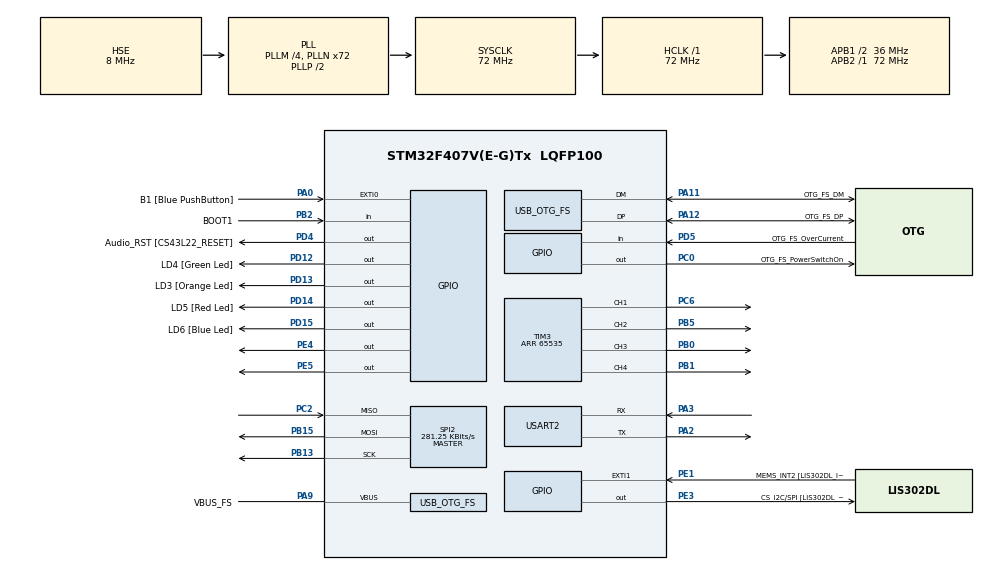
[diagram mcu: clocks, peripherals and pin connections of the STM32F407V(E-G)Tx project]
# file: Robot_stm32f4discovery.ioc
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FREERTOS.Tasks01=defaultTask,0,128,StartDefaultTask,Default;sendMessageTask,0,128,sendMessageTaskFunction,Default;speedTask,-3,128,speedTaskFunction,Default;controlLoop,0,128,controlLoopTaskFunction,Default
Mcu.Family=STM32F4
Mcu.Name=STM32F407V(E-G)Tx
Mcu.Package=LQFP100
NVIC.OTG_FS_IRQn=true\:5\:0\:false\:false\:true\:true
NVIC.PriorityGroup=NVIC_PRIORITYGROUP_4
NVIC.SPI2_IRQn=true\:5\:0\:false\:false\:true\:true
NVIC.TIM3_IRQn=true\:5\:0\:false\:false\:true\:true
NVIC.TIM8_TRG_COM_TIM14_IRQn=true\:0\:0\:false\:false\:true\:false
NVIC.TimeBase=TIM8_TRG_COM_TIM14_IRQn
NVIC.TimeBaseIP=TIM14
NVIC.USART2_IRQn=true\:5\:0\:false\:false\:true\:true
PA0-WKUP.GPIO_Label=B1 [Blue PushButton]
PA0-WKUP.GPIO_ModeDefaultEXTI=GPIO_MODE_EVT_RISING
PA0-WKUP.GPIO_PuPd=GPIO_NOPULL
PA0-WKUP.Signal=GPXTI0
PA10.GPIO_Label=OTG_FS_ID
PA10.GPIO_Mode=GPIO_MODE_AF_PP
PA10.GPIO_PuPd=GPIO_NOPULL
PA10.GPIO_Speed=GPIO_SPEED_FREQ_LOW
PA10.Signal=USB_OTG_FS_ID
PA11.GPIO_Label=OTG_FS_DM
PA11.GPIO_Mode=GPIO_MODE_AF_PP
PA11.GPIO_PuPd=GPIO_NOPULL
PA11.GPIO_Speed=GPIO_SPEED_FREQ_LOW
PA11.Mode=Device_Only
PA11.Signal=USB_OTG_FS_DM
PA12.GPIO_Label=OTG_FS_DP
PA12.GPIO_Mode=GPIO_MODE_AF_PP
PA12.GPIO_PuPd=GPIO_NOPULL
PA12.GPIO_Speed=GPIO_SPEED_FREQ_LOW
PA12.Mode=Device_Only
PA12.Signal=USB_OTG_FS_DP
PA13.GPIO_Label=SWDIO
PA13.Mode=Serial-Wire
PA13.Signal=SYS_JTMS-SWDIO
PA14.GPIO_Label=SWCLK
PA14.Mode=Serial-Wire
PA14.Signal=SYS_JTCK-SWCLK
PA2.Mode=Asynchronous
PA2.Signal=USART2_TX
PA3.Mode=Asynchronous
PA3.Signal=USART2_RX
PA4.GPIO_Label=I2S3_WS [CS43L22_LRCK]
PA4.GPIO_Mode=GPIO_MODE_AF_PP
PA4.GPIO_PuPd=GPIO_NOPULL
PA4.GPIO_Speed=GPIO_SPEED_FREQ_LOW
PA4.Signal=I2S3_WS
PA5.GPIO_Label=SPI1_SCK [LIS302DL_SCL/SPC]
PA5.GPIO_Mode=GPIO_MODE_AF_PP
PA5.GPIO_PuPd=GPIO_NOPULL
PA5.GPIO_Speed=GPIO_SPEED_FREQ_LOW
PA5.Signal=SPI1_SCK
PA6.GPIO_Label=SPI1_MISO [LIS302DL_SDO]
PA6.GPIO_Mode=GPIO_MODE_AF_PP
PA6.GPIO_PuPd=GPIO_NOPULL
PA6.GPIO_Speed=GPIO_SPEED_FREQ_LOW
PA6.Signal=SPI1_MISO
PA7.GPIO_Label=SPI1_MOSI [LIS302DL_SDA/SDI/SDO]
PA7.GPIO_Mode=GPIO_MODE_AF_PP
PA7.GPIO_PuPd=GPIO_NOPULL
PA7.GPIO_Speed=GPIO_SPEED_FREQ_LOW
PA7.Signal=SPI1_MOSI
PA9.GPIO_Label=VBUS_FS
PA9.GPIO_Mode=GPIO_MODE_INPUT
PA9.GPIO_PuPd=GPIO_NOPULL
PA9.Mode=Activate_VBUS
PA9.Signal=USB_OTG_FS_VBUS
PB0.Signal=S_TIM3_CH3
PB1.Signal=S_TIM3_CH4
PB10.GPIO_Label=CLK_IN [MP45DT02_CLK]
PB10.GPIO_Mode=GPIO_MODE_AF_PP
PB10.GPIO_PuPd=GPIO_NOPULL
PB10.GPIO_Speed=GPIO_SPEED_FREQ_LOW
PB10.Signal=I2S2_CK
PB13.GPIO_PuPd=GPIO_PULLUP
PB13.Mode=Full_Duplex_Master
PB13.Signal=SPI2_SCK
PB15.GPIO_PuPd=GPIO_PULLUP
PB15.Mode=Full_Duplex_Master
PB15.Signal=SPI2_MOSI
PB2.GPIO_Label=BOOT1
PB2.GPIO_Mode=GPIO_MODE_INPUT
PB2.GPIO_PuPd=GPIO_NOPULL
PB2.Signal=GPIO_Input
PB3.GPIO_Label=SWO
PB3.Signal=SYS_JTDO-SWO
PB5.Signal=S_TIM3_CH2
PB6.GPIO_Label=Audio_SCL [CS43L22_SCL]
PB6.GPIO_Mode=GPIO_MODE_AF_OD
PB6.GPIO_PuPd=GPIO_NOPULL
PB6.GPIO_Speed=GPIO_SPEED_FREQ_LOW
PB6.Signal=I2C1_SCL
PB9.GPIO_Label=Audio_SDA [CS43L22_SDA]
PB9.GPIO_Mode=GPIO_MODE_AF_OD
PB9.GPIO_PuPd=GPIO_NOPULL
PB9.GPIO_Speed=GPIO_SPEED_FREQ_LOW
PB9.Signal=I2C1_SDA
PC0.GPIO_Label=OTG_FS_PowerSwitchOn
PC0.GPIO_PuPd=GPIO_NOPULL
PC0.GPIO_Speed=GPIO_SPEED_FREQ_LOW
PC0.Signal=GPIO_Output
PC10.GPIO_Label=I2S3_SCK [CS43L22_SCLK]
PC10.GPIO_Mode=GPIO_MODE_AF_PP
PC10.GPIO_PuPd=GPIO_NOPULL
PC10.GPIO_Speed=GPIO_SPEED_FREQ_LOW
PC10.Signal=I2S3_CK
PC12.GPIO_Label=I2S3_SD [CS43L22_SDIN]
PC12.GPIO_Mode=GPIO_MODE_AF_PP
PC12.GPIO_PuPd=GPIO_NOPULL
PC12.GPIO_Speed=GPIO_SPEED_FREQ_LOW
PC12.Signal=I2S3_SD
PC14-OSC32_IN.GPIO_Label=PC14-OSC32_IN
PC14-OSC32_IN.Signal=RCC_OSC32_IN
PC15-OSC32_OUT.GPIO_Label=PC15-OSC32_OUT
PC15-OSC32_OUT.Signal=RCC_OSC32_OUT
PC2.GPIO_PuPd=GPIO_PULLUP
PC2.Mode=Full_Duplex_Master
PC2.Signal=SPI2_MISO
PC3.GPIO_Label=PDM_OUT [MP45DT02_DOUT]
PC3.GPIO_Mode=GPIO_MODE_AF_PP
PC3.GPIO_PuPd=GPIO_NOPULL
PC3.GPIO_Speed=GPIO_SPEED_FREQ_LOW
PC3.Signal=I2S2_SD
PC6.Signal=S_TIM3_CH1
PC7.GPIO_Label=I2S3_MCK [CS43L22_MCLK]
PC7.GPIO_Mode=GPIO_MODE_AF_PP
PC7.GPIO_PuPd=GPIO_NOPULL
PC7.GPIO_Speed=GPIO_SPEED_FREQ_LOW
PC7.Signal=I2S3_MCK
PD12.GPIO_Label=LD4 [Green Led]
PD12.GPIO_PuPd=GPIO_NOPULL
PD12.GPIO_Speed=GPIO_SPEED_FREQ_LOW
PD12.Signal=GPIO_Output
PD13.GPIO_Label=LD3 [Orange Led]
PD13.GPIO_PuPd=GPIO_NOPULL
PD13.GPIO_Speed=GPIO_SPEED_FREQ_LOW
PD13.Signal=GPIO_Output
PD14.GPIO_Label=LD5 [Red Led]
PD14.GPIO_PuPd=GPIO_NOPULL
PD14.GPIO_Speed=GPIO_SPEED_FREQ_LOW
PD14.Signal=GPIO_Output
PD15.GPIO_Label=LD6 [Blue Led]
PD15.GPIO_PuPd=GPIO_NOPULL
PD15.GPIO_Speed=GPIO_SPEED_FREQ_LOW
PD15.Signal=GPIO_Output
PD4.GPIO_Label=Audio_RST [CS43L22_RESET]
PD4.GPIO_PuPd=GPIO_NOPULL
PD4.GPIO_Speed=GPIO_SPEED_FREQ_LOW
PD4.Signal=GPIO_Output
PD5.GPIO_Label=OTG_FS_OverCurrent
PD5.GPIO_Mode=GPIO_MODE_INPUT
PD5.GPIO_PuPd=GPIO_NOPULL
PD5.Signal=GPIO_Input
PE1.GPIO_Label=MEMS_INT2 [LIS302DL_INT2]
PE1.GPIO_ModeDefaultEXTI=GPIO_MODE_EVT_RISING
PE1.GPIO_PuPd=GPIO_NOPULL
PE1.Signal=GPXTI1
PE3.GPIO_Label=CS_I2C/SPI [LIS302DL_CS_I2C/SPI]
PE3.GPIO_PuPd=GPIO_NOPULL
PE3.GPIO_Speed=GPIO_SPEED_FREQ_LOW
PE3.Signal=GPIO_Output
PE4.Signal=GPIO_Output
PE5.Signal=GPIO_Output
PH0-OSC_IN.GPIO_Label=PH0-OSC_IN
PH0-OSC_IN.Mode=HSE-External-Oscillator
PH0-OSC_IN.Signal=RCC_OSC_IN
PH1-OSC_OUT.GPIO_Label=PH1-OSC_OUT
PH1-OSC_OUT.Mode=HSE-External-Oscillator
PH1-OSC_OUT.Signal=RCC_OSC_OUT
ProjectManager.HeapSize=0x400
ProjectManager.StackSize=0x200
ProjectManager.TargetToolchain=SW4STM32
RCC.48MHZClocksFreq_Value=48000000
RCC.AHBFreq_Value=72000000
RCC.APB1CLKDivider=RCC_HCLK_DIV2
RCC.APB1Freq_Value=36000000
RCC.APB1TimFreq_Value=72000000
RCC.APB2Freq_Value=72000000
RCC.APB2TimFreq_Value=72000000
RCC.CortexFreq_Value=72000000
RCC.HCLKFreq_Value=72000000
RCC.HSE_VALUE=8000000
RCC.HSI_VALUE=16000000
RCC.LSE_VALUE=32768
RCC.PLLM=4
RCC.PLLN=72
RCC.PLLQ=3
RCC.SYSCLKFreq_VALUE=72000000
RCC.SYSCLKSource=RCC_SYSCLKSOURCE_PLLCLK
RCC.VCOOutputFreq_Value=144000000
SH.S_TIM3_CH1.0=TIM3_CH1,PWM Generation1 CH1
SH.S_TIM3_CH2.0=TIM3_CH2,PWM Generation2 CH2
SH.S_TIM3_CH3.0=TIM3_CH3,PWM Generation3 CH3
SH.S_TIM3_CH4.0=TIM3_CH4,PWM Generation4 CH4
SPI2.BaudRatePrescaler=SPI_BAUDRATEPRESCALER_128
SPI2.CalculateBaudRate=281.25 KBits/s
SPI2.Mode=SPI_MODE_MASTER
TIM3.Channel-PWM\ Generation2\ CH2=TIM_CHANNEL_2
TIM3.Channel-PWM\ Generation3\ CH3=TIM_CHANNEL_3
TIM3.Channel-PWM\ Generation4\ CH4=TIM_CHANNEL_4
TIM3.Period=65535
TIM3.Pulse-PWM\ Generation1\ CH1=800
TIM3.Pulse-PWM\ Generation2\ CH2=5000
TIM3.Pulse-PWM\ Generation3\ CH3=60000
TIM3.Pulse-PWM\ Generation4\ CH4=8000
USB_DEVICE.CLASS_NAME-CDC_FS=CDC
USB_DEVICE.CLASS_NAME_FS=CDC
USB_DEVICE.MANUFACTURER_STRING-CDC_FS=Robotcup Ulaval
USB_DEVICE.PRODUCT_STRING_CDC_FS=Robotcup Virtual ComPort
USB_DEVICE.USBD_HandleTypeDef-CDC_FS=hUsbDeviceFS
USB_DEVICE.VirtualMode-CDC_FS=Cdc
USB_DEVICE.VirtualModeFS=Cdc_FS
USB_OTG_FS.VirtualMode=Device_Only
VP_FREERTOS_VS_ENABLE.Mode=Enabled
VP_SYS_VS_tim14.Mode=TIM14
VP_TIM3_VS_ClockSourceINT.Mode=Internal
VP_USB_DEVICE_VS_USB_DEVICE_CDC_FS.Mode=CDC_FS
board=STM32F4DISCOVERY

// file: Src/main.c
/**
  ******************************************************************************
  * File Name          : main.c
  * Description        : Main program body
  ******************************************************************************
  *
  * COPYRIGHT(c) 2016 STMicroelectronics
  *
  * Redistribution and use in source and binary forms, with or without modification,
  * are permitted provided that the following conditions are met:
  *   1. Redistributions of source code must retain the above copyright notice,
  *      this list of conditions and the following disclaimer.
  *   2. Redistributions in binary form must reproduce the above copyright notice,
  *      this list of conditions and the following disclaimer in the documentation
  *      and/or other materials provided with the distribution.
  *   3. Neither the name of STMicroelectronics nor the names of its contributors
  *      may be used to endorse or promote products derived from this software
  *      without specific prior written permission.
  *
  * THIS SOFTWARE IS PROVIDED BY THE COPYRIGHT HOLDERS AND CONTRIBUTORS "AS IS"
  * AND ANY EXPRESS OR IMPLIED WARRANTIES, INCLUDING, BUT NOT LIMITED TO, THE
  * IMPLIED WARRANTIES OF MERCHANTABILITY AND FITNESS FOR A PARTICULAR PURPOSE ARE
  * DISCLAIMED. IN NO EVENT SHALL THE COPYRIGHT HOLDER OR CONTRIBUTORS BE LIABLE
  * FOR ANY DIRECT, INDIRECT, INCIDENTAL, SPECIAL, EXEMPLARY, OR CONSEQUENTIAL
  * DAMAGES (INCLUDING, BUT NOT LIMITED TO, PROCUREMENT OF SUBSTITUTE GOODS OR
  * SERVICES; LOSS OF USE, DATA, OR PROFITS; OR BUSINESS INTERRUPTION) HOWEVER
  * CAUSED AND ON ANY THEORY OF LIABILITY, WHETHER IN CONTRACT, STRICT LIABILITY,
  * OR TORT (INCLUDING NEGLIGENCE OR OTHERWISE) ARISING IN ANY WAY OUT OF THE USE
  * OF THIS SOFTWARE, EVEN IF ADVISED OF THE POSSIBILITY OF SUCH DAMAGE.
  *
  ******************************************************************************
  */
#include "stm32f4xx_hal.h"
#include "cmsis_os.h"
#include "usb_device.h"

/* USER CODE BEGIN Includes */
// Local includes
#include "robocup_define.h"

/* USER CODE END Includes */

SPI_HandleTypeDef hspi2;

TIM_HandleTypeDef htim3;

UART_HandleTypeDef huart2;

osThreadId defaultTaskHandle;
osThreadId sendMessageTaskHandle;
osThreadId speedTaskHandle;
osThreadId controlLoopHandle;

/* USER CODE BEGIN PV */
/* Private variables ---------------------------------------------------------*/
quad_Handle quadA;
/* USER CODE END PV */

void SystemClock_Config(void);
static void MX_GPIO_Init(void);
static void MX_SPI2_Init(void);
static void MX_USART2_UART_Init(void);
static void MX_TIM3_Init(void);
void StartDefaultTask(void const * argument);
void sendMessageTaskFunction(void const * argument);
void speedTaskFunction(void const * argument);
void controlLoopTaskFunction(void const * argument);

void HAL_TIM_MspPostInit(TIM_HandleTypeDef *htim);

/* USER CODE BEGIN PFP */
/* Private function prototypes -----------------------------------------------*/

/* USER CODE END PFP */

int main(void)
{

  /* MCU Configuration----------------------------------------------------------*/

  /* Reset of all peripherals, Initializes the Flash interface and the Systick. */
  HAL_Init();

  /* Configure the system clock */
  SystemClock_Config();

  /* Initialize all configured peripherals */
  MX_GPIO_Init();
  MX_SPI2_Init();
  MX_USART2_UART_Init();
  MX_TIM3_Init();

  /* USER CODE BEGIN 2 */

    HAL_UART_Transmit_IT(&huart2,(uint8_t *)"Hello World!",12);
  	HAL_TIM_Base_Start(&htim3);
  	HAL_TIM_PWM_Start(&htim3,TIM_CHANNEL_1);
  	HAL_TIM_PWM_Start(&htim3,TIM_CHANNEL_2);
  	HAL_TIM_PWM_Start(&htim3,TIM_CHANNEL_3);
  	HAL_TIM_PWM_Start(&htim3,TIM_CHANNEL_4);

  	demux_Init(GPIOE, GPIO_PIN_4, GPIO_PIN_5, GPIO_PIN_6, CS_0);
  	quadA = quad_Init(CS_1);

  /* USER CODE END 2 */

  /* Create the thread(s) */
  /* definition and creation of defaultTask */
  osThreadDef(defaultTask, StartDefaultTask, osPriorityNormal, 0, 128);
  defaultTaskHandle = osThreadCreate(osThread(defaultTask), NULL);

  /* definition and creation of sendMessageTask */
  osThreadDef(sendMessageTask, sendMessageTaskFunction, osPriorityNormal, 0, 128);
  sendMessageTaskHandle = osThreadCreate(osThread(sendMessageTask), NULL);

  /* definition and creation of speedTask */
  osThreadDef(speedTask, speedTaskFunction, osPriorityIdle, 0, 128);
  speedTaskHandle = osThreadCreate(osThread(speedTask), NULL);

  /* definition and creation of controlLoop */
  osThreadDef(controlLoop, controlLoopTaskFunction, osPriorityNormal, 0, 128);
  controlLoopHandle = osThreadCreate(osThread(controlLoop), NULL);

  /* Start scheduler */
  osKernelStart();

  /* We should never get here as control is now taken by the scheduler */

  /* Infinite loop */
  while (1)
  {

  }

}

/** System Clock Configuration
*/
void SystemClock_Config(void)
{

  RCC_OscInitTypeDef RCC_OscInitStruct;
  RCC_ClkInitTypeDef RCC_ClkInitStruct;

  __HAL_RCC_PWR_CLK_ENABLE();

  __HAL_PWR_VOLTAGESCALING_CONFIG(PWR_REGULATOR_VOLTAGE_SCALE1);

  RCC_OscInitStruct.OscillatorType = RCC_OSCILLATORTYPE_HSE;
  RCC_OscInitStruct.HSEState = RCC_HSE_ON;
  RCC_OscInitStruct.PLL.PLLState = RCC_PLL_ON;
  RCC_OscInitStruct.PLL.PLLSource = RCC_PLLSOURCE_HSE;
  RCC_OscInitStruct.PLL.PLLM = 4;
  RCC_OscInitStruct.PLL.PLLN = 72;
  RCC_OscInitStruct.PLL.PLLP = RCC_PLLP_DIV2;
  RCC_OscInitStruct.PLL.PLLQ = 3;
  HAL_RCC_OscConfig(&RCC_OscInitStruct);

  RCC_ClkInitStruct.ClockType = RCC_CLOCKTYPE_HCLK|RCC_CLOCKTYPE_SYSCLK
                              |RCC_CLOCKTYPE_PCLK1|RCC_CLOCKTYPE_PCLK2;
  RCC_ClkInitStruct.SYSCLKSource = RCC_SYSCLKSOURCE_PLLCLK;
  RCC_ClkInitStruct.AHBCLKDivider = RCC_SYSCLK_DIV1;
  RCC_ClkInitStruct.APB1CLKDivider = RCC_HCLK_DIV2;
  RCC_ClkInitStruct.APB2CLKDivider = RCC_HCLK_DIV1;
  HAL_RCC_ClockConfig(&RCC_ClkInitStruct, FLASH_LATENCY_2);

  HAL_SYSTICK_Config(HAL_RCC_GetHCLKFreq()/1000);

  HAL_SYSTICK_CLKSourceConfig(SYSTICK_CLKSOURCE_HCLK);

  /* SysTick_IRQn interrupt configuration */
  HAL_NVIC_SetPriority(SysTick_IRQn, 15, 0);
}

/* SPI2 init function */
void MX_SPI2_Init(void)
{

  hspi2.Instance = SPI2;
  hspi2.Init.Mode = SPI_MODE_MASTER;
  hspi2.Init.Direction = SPI_DIRECTION_2LINES;
  hspi2.Init.DataSize = SPI_DATASIZE_8BIT;
  hspi2.Init.CLKPolarity = SPI_POLARITY_LOW;
  hspi2.Init.CLKPhase = SPI_PHASE_1EDGE;
  hspi2.Init.NSS = SPI_NSS_SOFT;
  hspi2.Init.BaudRatePrescaler = SPI_BAUDRATEPRESCALER_128;
  hspi2.Init.FirstBit = SPI_FIRSTBIT_MSB;
  hspi2.Init.TIMode = SPI_TIMODE_DISABLE;
  hspi2.Init.CRCCalculation = SPI_CRCCALCULATION_DISABLE;
  hspi2.Init.CRCPolynomial = 10;
  HAL_SPI_Init(&hspi2);

}

/* TIM3 init function */
void MX_TIM3_Init(void)
{

  TIM_ClockConfigTypeDef sClockSourceConfig;
  TIM_MasterConfigTypeDef sMasterConfig;
  TIM_OC_InitTypeDef sConfigOC;

  htim3.Instance = TIM3;
  htim3.Init.Prescaler = 0;
  htim3.Init.CounterMode = TIM_COUNTERMODE_UP;
  htim3.Init.Period = 65535;
  htim3.Init.ClockDivision = TIM_CLOCKDIVISION_DIV1;
  HAL_TIM_Base_Init(&htim3);

  sClockSourceConfig.ClockSource = TIM_CLOCKSOURCE_INTERNAL;
  HAL_TIM_ConfigClockSource(&htim3, &sClockSourceConfig);

  HAL_TIM_PWM_Init(&htim3);

  sMasterConfig.MasterOutputTrigger = TIM_TRGO_RESET;
  sMasterConfig.MasterSlaveMode = TIM_MASTERSLAVEMODE_DISABLE;
  HAL_TIMEx_MasterConfigSynchronization(&htim3, &sMasterConfig);

  sConfigOC.OCMode = TIM_OCMODE_PWM1;
  sConfigOC.Pulse = 800;
  sConfigOC.OCPolarity = TIM_OCPOLARITY_HIGH;
  sConfigOC.OCFastMode = TIM_OCFAST_DISABLE;
  HAL_TIM_PWM_ConfigChannel(&htim3, &sConfigOC, TIM_CHANNEL_1);

  sConfigOC.Pulse = 5000;
  HAL_TIM_PWM_ConfigChannel(&htim3, &sConfigOC, TIM_CHANNEL_2);

  sConfigOC.Pulse = 60000;
  HAL_TIM_PWM_ConfigChannel(&htim3, &sConfigOC, TIM_CHANNEL_3);

  sConfigOC.Pulse = 8000;
  HAL_TIM_PWM_ConfigChannel(&htim3, &sConfigOC, TIM_CHANNEL_4);

  HAL_TIM_MspPostInit(&htim3);

}

/* USART2 init function */
void MX_USART2_UART_Init(void)
{

  huart2.Instance = USART2;
  huart2.Init.BaudRate = 115200;
  huart2.Init.WordLength = UART_WORDLENGTH_8B;
  huart2.Init.StopBits = UART_STOPBITS_1;
  huart2.Init.Parity = UART_PARITY_NONE;
  huart2.Init.Mode = UART_MODE_TX_RX;
  huart2.Init.HwFlowCtl = UART_HWCONTROL_NONE;
  huart2.Init.OverSampling = UART_OVERSAMPLING_16;
  HAL_UART_Init(&huart2);

}

/** Configure pins as
        * Analog
        * Input
        * Output
        * EVENT_OUT
        * EXTI
     PC3   ------> I2S2_SD
     PA4   ------> I2S3_WS
     PA5   ------> SPI1_SCK
     PA6   ------> SPI1_MISO
     PA7   ------> SPI1_MOSI
     PB10   ------> I2S2_CK
     PC7   ------> I2S3_MCK
     PC10   ------> I2S3_CK
     PC12   ------> I2S3_SD
     PB6   ------> I2C1_SCL
     PB9   ------> I2C1_SDA
*/
void MX_GPIO_Init(void)
{

  GPIO_InitTypeDef GPIO_InitStruct;

  /* GPIO Ports Clock Enable */
  __HAL_RCC_GPIOE_CLK_ENABLE();
  __HAL_RCC_GPIOC_CLK_ENABLE();
  __HAL_RCC_GPIOH_CLK_ENABLE();
  __HAL_RCC_GPIOA_CLK_ENABLE();
  __HAL_RCC_GPIOB_CLK_ENABLE();
  __HAL_RCC_GPIOD_CLK_ENABLE();

  /*Configure GPIO pin Output Level */
  HAL_GPIO_WritePin(GPIOE, CS_I2C_SPI_Pin|GPIO_PIN_4|GPIO_PIN_5, GPIO_PIN_RESET);

  /*Configure GPIO pin Output Level */
  HAL_GPIO_WritePin(OTG_FS_PowerSwitchOn_GPIO_Port, OTG_FS_PowerSwitchOn_Pin, GPIO_PIN_RESET);

  /*Configure GPIO pin Output Level */
  HAL_GPIO_WritePin(GPIOD, LD4_Pin|LD3_Pin|LD5_Pin|LD6_Pin
                          |Audio_RST_Pin, GPIO_PIN_RESET);

  /*Configure GPIO pins : CS_I2C_SPI_Pin PE4 PE5 */
  GPIO_InitStruct.Pin = CS_I2C_SPI_Pin|GPIO_PIN_4|GPIO_PIN_5;
  GPIO_InitStruct.Mode = GPIO_MODE_OUTPUT_PP;
  GPIO_InitStruct.Pull = GPIO_NOPULL;
  GPIO_InitStruct.Speed = GPIO_SPEED_FREQ_LOW;
  HAL_GPIO_Init(GPIOE, &GPIO_InitStruct);

  /*Configure GPIO pin : OTG_FS_PowerSwitchOn_Pin */
  GPIO_InitStruct.Pin = OTG_FS_PowerSwitchOn_Pin;
  GPIO_InitStruct.Mode = GPIO_MODE_OUTPUT_PP;
  GPIO_InitStruct.Pull = GPIO_NOPULL;
  GPIO_InitStruct.Speed = GPIO_SPEED_FREQ_LOW;
  HAL_GPIO_Init(OTG_FS_PowerSwitchOn_GPIO_Port, &GPIO_InitStruct);

  /*Configure GPIO pin : PDM_OUT_Pin */
  GPIO_InitStruct.Pin = PDM_OUT_Pin;
  GPIO_InitStruct.Mode = GPIO_MODE_AF_PP;
  GPIO_InitStruct.Pull = GPIO_NOPULL;
  GPIO_InitStruct.Speed = GPIO_SPEED_FREQ_LOW;
  GPIO_InitStruct.Alternate = GPIO_AF5_SPI2;
  HAL_GPIO_Init(PDM_OUT_GPIO_Port, &GPIO_InitStruct);

  /*Configure GPIO pin : B1_Pin */
  GPIO_InitStruct.Pin = B1_Pin;
  GPIO_InitStruct.Mode = GPIO_MODE_EVT_RISING;
  GPIO_InitStruct.Pull = GPIO_NOPULL;
  HAL_GPIO_Init(B1_GPIO_Port, &GPIO_InitStruct);

  /*Configure GPIO pin : PA4 */
  GPIO_InitStruct.Pin = GPIO_PIN_4;
  GPIO_InitStruct.Mode = GPIO_MODE_AF_PP;
  GPIO_InitStruct.Pull = GPIO_NOPULL;
  GPIO_InitStruct.Speed = GPIO_SPEED_FREQ_LOW;
  GPIO_InitStruct.Alternate = GPIO_AF6_SPI3;
  HAL_GPIO_Init(GPIOA, &GPIO_InitStruct);

  /*Configure GPIO pins : PA5 PA6 PA7 */
  GPIO_InitStruct.Pin = GPIO_PIN_5|GPIO_PIN_6|GPIO_PIN_7;
  GPIO_InitStruct.Mode = GPIO_MODE_AF_PP;
  GPIO_InitStruct.Pull = GPIO_NOPULL;
  GPIO_InitStruct.Speed = GPIO_SPEED_FREQ_LOW;
  GPIO_InitStruct.Alternate = GPIO_AF5_SPI1;
  HAL_GPIO_Init(GPIOA, &GPIO_InitStruct);

  /*Configure GPIO pin : BOOT1_Pin */
  GPIO_InitStruct.Pin = BOOT1_Pin;
  GPIO_InitStruct.Mode = GPIO_MODE_INPUT;
  GPIO_InitStruct.Pull = GPIO_NOPULL;
  HAL_GPIO_Init(BOOT1_GPIO_Port, &GPIO_InitStruct);

  /*Configure GPIO pin : CLK_IN_Pin */
  GPIO_InitStruct.Pin = CLK_IN_Pin;
  GPIO_InitStruct.Mode = GPIO_MODE_AF_PP;
  GPIO_InitStruct.Pull = GPIO_NOPULL;
  GPIO_InitStruct.Speed = GPIO_SPEED_FREQ_LOW;
  GPIO_InitStruct.Alternate = GPIO_AF5_SPI2;
  HAL_GPIO_Init(CLK_IN_GPIO_Port, &GPIO_InitStruct);

  /*Configure GPIO pins : LD4_Pin LD3_Pin LD5_Pin LD6_Pin
                           Audio_RST_Pin */
  GPIO_InitStruct.Pin = LD4_Pin|LD3_Pin|LD5_Pin|LD6_Pin
                          |Audio_RST_Pin;
  GPIO_InitStruct.Mode = GPIO_MODE_OUTPUT_PP;
  GPIO_InitStruct.Pull = GPIO_NOPULL;
  GPIO_InitStruct.Speed = GPIO_SPEED_FREQ_LOW;
  HAL_GPIO_Init(GPIOD, &GPIO_InitStruct);

  /*Configure GPIO pins : PC7 I2S3_SCK_Pin PC12 */
  GPIO_InitStruct.Pin = GPIO_PIN_7|I2S3_SCK_Pin|GPIO_PIN_12;
  GPIO_InitStruct.Mode = GPIO_MODE_AF_PP;
  GPIO_InitStruct.Pull = GPIO_NOPULL;
  GPIO_InitStruct.Speed = GPIO_SPEED_FREQ_LOW;
  GPIO_InitStruct.Alternate = GPIO_AF6_SPI3;
  HAL_GPIO_Init(GPIOC, &GPIO_InitStruct);

  /*Configure GPIO pin : OTG_FS_OverCurrent_Pin */
  GPIO_InitStruct.Pin = OTG_FS_OverCurrent_Pin;
  GPIO_InitStruct.Mode = GPIO_MODE_INPUT;
  GPIO_InitStruct.Pull = GPIO_NOPULL;
  HAL_GPIO_Init(OTG_FS_OverCurrent_GPIO_Port, &GPIO_InitStruct);

  /*Configure GPIO pins : Audio_SCL_Pin Audio_SDA_Pin */
  GPIO_InitStruct.Pin = Audio_SCL_Pin|Audio_SDA_Pin;
  GPIO_InitStruct.Mode = GPIO_MODE_AF_OD;
  GPIO_InitStruct.Pull = GPIO_PULLUP;
  GPIO_InitStruct.Speed = GPIO_SPEED_FREQ_LOW;
  GPIO_InitStruct.Alternate = GPIO_AF4_I2C1;
  HAL_GPIO_Init(GPIOB, &GPIO_InitStruct);

  /*Configure GPIO pin : MEMS_INT2_Pin */
  GPIO_InitStruct.Pin = MEMS_INT2_Pin;
  GPIO_InitStruct.Mode = GPIO_MODE_EVT_RISING;
  GPIO_InitStruct.Pull = GPIO_NOPULL;
  HAL_GPIO_Init(MEMS_INT2_GPIO_Port, &GPIO_InitStruct);

}

/* StartDefaultTask function */
void StartDefaultTask(void const * argument)
{
  /* init code for USB_DEVICE */
  MX_USB_DEVICE_Init();

  for(;;)
  {
    osDelay(1);
  }
}

/* sendMessageTaskFunction function */
void sendMessageTaskFunction(void const * argument)
{
  /* USER CODE BEGIN sendMessageTaskFunction */
	uint8_t Buf[] = "Hello USB World!\r\n";

  /* Infinite loop */
  for(;;)
  {
//	osDelay(1900);
//	HAL_GPIO_WritePin(GPIOD, LD4_Pin, GPIO_PIN_SET);
//	HAL_UART_Transmit_IT(&huart2,(uint8_t *)"Hello World!",12);
//	CDC_Transmit_FS(Buf, 18);
//	//HAL_SPI_Transmit_IT(&hspi2,(uint8_t *)"Hello World!",12);
//	osDelay(100);
//	HAL_UART_Transmit_IT(&huart2,(uint8_t *)"\n\r",2);
//	HAL_GPIO_WritePin(GPIOD, LD4_Pin, GPIO_PIN_RESET);
	  osDelay(500);
//	  bool succes = quad_Test(&quadA);
//	  if (succes==true){
//	  	   HAL_UART_Transmit_IT(&huart2,(uint8_t *)"Success\r\n",9);
//	  }else{
//	  	   HAL_UART_Transmit_IT(&huart2,(uint8_t *)"No\r\n",4);
//	  }
	  quad_ReadCounters(&quadA);
//	  sprintf(bufferGlobalDebug,"COUNT %x, %x, %i, %i \n\r", quadA.count0, quadA.count1, quadA.count0, quadA.count1);
//	  HAL_UART_Transmit_IT(&huart2,(uint8_t*)bufferGlobalDebug, strlen(bufferGlobalDebug));
//
  }
  /* USER CODE END sendMessageTaskFunction */
}

/* speedTaskFunction function */
void speedTaskFunction(void const * argument)
{
  /* USER CODE BEGIN speedTaskFunction */
  /* Infinite loop */
	uint32_t Pulse;
  for(;;)
  {
	  Pulse+=100;
	      //osDelay(5);
	  		__HAL_TIM_SetCompare(&htim3, TIM_CHANNEL_1, Pulse);
	  		HAL_Delay(10);
	  		__HAL_TIM_SetCompare(&htim3, TIM_CHANNEL_2, Pulse+100);
	  		HAL_Delay(10);
	  		__HAL_TIM_SetCompare(&htim3, TIM_CHANNEL_3, Pulse+200);
	  		HAL_Delay(10);
	  		__HAL_TIM_SetCompare(&htim3, TIM_CHANNEL_4, Pulse+300);
	  		//osDelay(5);
	  		Pulse = Pulse>60000 ? 0:Pulse;
  }
  /* USER CODE END speedTaskFunction */
}

/* controlLoopTaskFunction function */
void controlLoopTaskFunction(void const * argument)
{
  /* USER CODE BEGIN controlLoopTaskFunction */
  /* Infinite loop */
	uint8_t a[2];
	a[0]=0x55;
  for(;;)
  {
//	  HAL_SPI_Transmit_IT(&hspi2, a, 1);
	  osDelay(100);
  }
  /* USER CODE END controlLoopTaskFunction */
}

/************************ (C) COPYRIGHT STMicroelectronics *****END OF FILE****/
